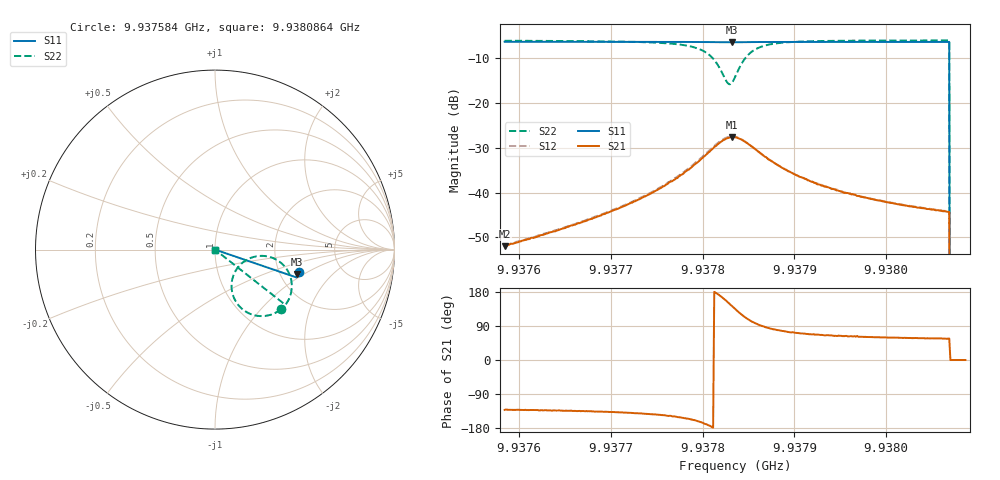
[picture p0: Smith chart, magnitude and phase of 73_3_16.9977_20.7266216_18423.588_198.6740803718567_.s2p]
#  HZ  S  RI  R  50.00
! Rohde & Schwarz Vector Network Analyzer
! Rohde-Schwarz,ZNB20-2Port,1311601062101988,3.16
! Created: UTC 3/20/2024, 10:55:18 PM
! freq[Hz]  re:S11  im:S11  re:S21  im:S21  re:S12  im:S12  re:S22  im:S22
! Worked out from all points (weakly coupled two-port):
!   401 points, 9.937584 GHz to 9.9380864 GHz, reference 50 ohm
!   highest |S21| = -27.63 dB at 9.9378315 GHz (marker M1); lowest = -52.0 dB at 9.937584 GHz (marker M2)
!   lowest |S11| = -6.4 dB at 9.9378315 GHz (marker M3), VSWR 2.82, Z = 123 - j43.9 ohm
!   |S11| at or under -10 dB: 9.9380689 GHz to end of sweep
!   |S22| runs from - to -6.0 dB; largest |S21 - S12| = 0.0024
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9.93758404e9  0.4657 -0.1247  -0.00167 -0.00188  -0.00174 -0.00192  0.3659 -0.3332
9.93766819e9  0.4637 -0.1306  -0.00326 -0.0033  -0.00339 -0.00333  0.3472 -0.3465
9.93770964e9  0.4624 -0.1334  -0.00501 -0.00451  -0.00519 -0.00448  0.3292 -0.3558
9.93775234e9  0.461 -0.1365  -0.00892 -0.00635  -0.00928 -0.00634  0.293 -0.3673
9.93778249e9  0.4597 -0.1387  -0.0158 -0.00747  -0.0163 -0.0074  0.2347 -0.3689
9.93780133e9  0.4581 -0.1399  -0.0245 -0.00564  -0.0256 -0.00514  0.164 -0.3407
9.93781137e9  0.457 -0.1403  -0.0311 -0.000791  -0.0322 0.00026  0.1166 -0.2905
9.93782017e9  0.456 -0.1399  -0.036 0.00805  -0.0367 0.00999  0.0923 -0.2083
9.93782645e9  0.4558 -0.1392  -0.0364 0.0172  -0.0364 0.0195  0.107 -0.1334
9.93782896e9  0.4556 -0.1388  -0.0351 0.0211  -0.0348 0.0233  0.1235 -0.1048
9.93783147e9  0.4557 -0.1385  -0.0334 0.0247  -0.0326 0.027  0.1458 -0.0793
9.93783524e9  0.4559 -0.1382  -0.0291 0.0292  -0.028 0.0313  0.1871 -0.0514
9.93784654e9  0.4574 -0.138  -0.014 0.0339  -0.0124 0.0348  0.3146 -0.0439
9.93785282e9  0.458 -0.1386  -0.00709 0.0321  -0.00594 0.0325  0.3625 -0.0696
9.93786036e9  0.4586 -0.1391  -0.00186 0.0287  -0.000906 0.0287  0.3971 -0.1056
9.93788799e9  0.4589 -0.142  0.00436 0.0181  0.0049 0.0181  0.4281 -0.1993
9.93791939e9  0.4582 -0.1448  0.00502 0.0121  0.00534 0.0122  0.4221 -0.2473
9.93795581e9  0.4575 -0.1476  0.00444 0.00891  0.00461 0.00871  0.4123 -0.2745
9.93800354e9  0.4563 -0.1508  0.00393 0.00663  0.00411 0.0066  0.4024 -0.2934
9.93806634e9  0.4545 -0.155  0.00341 0.00506  0.00353 0.0051  0.3928 -0.3075
9.93807262e9  0 0  0 0  0 0  0 0
9.93808643e9  0 0  0 0  0 0  0 0
